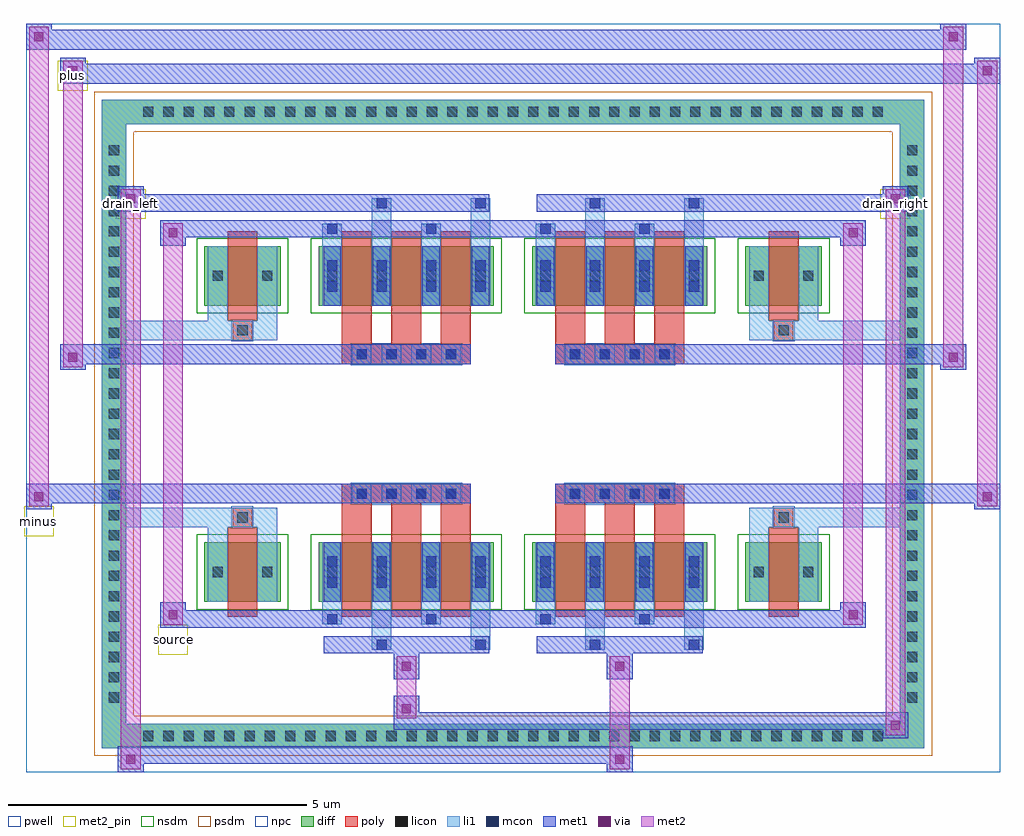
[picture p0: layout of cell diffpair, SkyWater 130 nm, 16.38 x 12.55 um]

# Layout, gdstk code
import gdstk
lib = gdstk.Library(unit=1e-6, precision=5e-09)
def R(c, l, rs):  # rectangles x0, y0, x1, y1
    for r in rs: c.add(gdstk.rectangle(r[:2], r[2:], *l))
def A(c, l, x, y, w, h, nx, ny, dx, dy):  # array of equal rectangles
    R(c, l, [(x+i*dx, y+j*dy, x+i*dx+w, y+j*dy+h) for i in range(nx) for j in range(ny)])
def P(c, l, *ps):  # polygons
    for p in ps: c.add(gdstk.Polygon(p, *l))
pwell = (64, 44)
diff = (65, 20)
poly = (66, 20)
licon = (66, 44)
li1 = (67, 20)
mcon = (67, 44)
met1 = (68, 20)
via = (68, 44)
met2_pin = (69, 16)
met2 = (69, 20)
nsdm = (93, 44)
psdm = (94, 20)
npc = (95, 20)

diffpair = lib.new_cell('diffpair')
R(diffpair, pwell, [(-8.17,-5.84,8.17,6.71), (-5.49,-4.03,-0.01,-0.805), (0.01,-4.03,5.49,-0.805), (-5.49,0.805,-0.01,4.03), (0.01,0.805,5.49,4.03)])
A(diffpair, diff, -6.325, -5.44, 0.41, 0.41, 37, 2, 0.34, 10.47)
A(diffpair, diff, -6.9, -4.795, 0.41, 0.41, 1, 28, 0, 0.34)
A(diffpair, diff, 6.49, -4.795, 0.41, 0.41, 1, 28, 0, 0.34)
R(diffpair, diff, [(-6.325,-5.44,6.325,-5.03), (-6.9,-4.795,-6.49,4.795), (6.49,-4.795,6.9,4.795), (-5.18,-2.985,-3.9,-1.985), (-3.26,-2.985,-0.32,-1.985), (0.32,-2.985,3.26,-1.985), (3.9,-2.985,5.18,-1.985), (-5.18,1.985,-3.9,2.985), (-3.26,1.985,-0.32,2.985), (0.32,1.985,3.26,2.985), (3.9,1.985,5.18,2.985), (-6.325,5.03,6.325,5.44)])
P(diffpair, diff, [(6.9,5.44),(-6.9,5.44),(-6.9,-5.03),(-6.49,-5.03),(-6.49,5.03),(6.49,5.03),(6.49,-5.03),(-6.49,-5.03),(-6.9,-5.03),(-6.9,-5.44),(6.9,-5.44)])
A(diffpair, poly, -2.87, -3.235, 0.5, 1.5, 3, 2, 0.83, 4.97)
A(diffpair, poly, 0.71, -3.235, 0.5, 1.5, 3, 2, 0.83, 4.97)
A(diffpair, poly, -2.87, -1.735, 0.5, 0.4, 3, 2, 0.83, 3.07)
A(diffpair, poly, 0.71, -1.735, 0.5, 0.4, 3, 2, 0.83, 3.07)
A(diffpair, poly, -2.705, -1.335, 0.33, 0.33, 4, 2, 0.5, 2.34)
A(diffpair, poly, 0.875, -1.335, 0.33, 0.33, 4, 2, 0.5, 2.34)
R(diffpair, poly, [(-4.79,-3.235,-4.29,-1.735), (4.29,-3.235,4.79,-1.735), (-4.705,-1.735,-4.375,-1.405), (-4.705,-1.735,-4.375,-1.405), (4.375,-1.735,4.705,-1.405), (4.375,-1.735,4.705,-1.405), (-2.87,-1.335,-0.71,-1.005), (0.71,-1.335,2.87,-1.005), (-2.87,1.005,-0.71,1.335), (0.71,1.005,2.87,1.335), (-4.705,1.405,-4.375,1.735), (-4.705,1.405,-4.375,1.735), (4.375,1.405,4.705,1.735), (4.375,1.405,4.705,1.735), (-4.79,1.735,-4.29,3.235), (4.29,1.735,4.79,3.235)])
A(diffpair, licon, -6.205, -5.32, 0.17, 0.17, 37, 2, 0.34, 10.47)
A(diffpair, licon, -6.78, -4.675, 0.17, 0.17, 1, 28, 0, 0.34)
A(diffpair, licon, 6.61, -4.675, 0.17, 0.17, 1, 28, 0, 0.34)
A(diffpair, licon, -3.12, -2.57, 0.17, 0.17, 4, 2, 0.83, 4.97)
A(diffpair, licon, 0.46, -2.57, 0.17, 0.17, 4, 2, 0.83, 4.97)
A(diffpair, licon, -2.625, -1.255, 0.17, 0.17, 4, 2, 0.5, 2.34)
A(diffpair, licon, 0.955, -1.255, 0.17, 0.17, 4, 2, 0.5, 2.34)
R(diffpair, licon, [(-5.04,-2.57,-4.87,-2.4), (-4.21,-2.57,-4.04,-2.4), (4.04,-2.57,4.21,-2.4), (4.87,-2.57,5.04,-2.4), (-4.625,-1.655,-4.455,-1.485), (4.455,-1.655,4.625,-1.485), (-4.625,1.485,-4.455,1.655), (4.455,1.485,4.625,1.655), (-5.04,2.4,-4.87,2.57), (-4.21,2.4,-4.04,2.57), (4.04,2.4,4.21,2.57), (4.87,2.4,5.04,2.57)])
A(diffpair, li1, -6.285, -5.4, 0.33, 0.33, 37, 2, 0.34, 10.47)
A(diffpair, li1, -6.86, -4.755, 0.33, 0.33, 1, 28, 0, 0.34)
A(diffpair, li1, 6.53, -4.755, 0.33, 0.33, 1, 28, 0, 0.34)
A(diffpair, li1, -3.2, -2.985, 0.33, 1, 4, 2, 0.83, 4.97)
A(diffpair, li1, 0.38, -2.985, 0.33, 1, 4, 2, 0.83, 4.97)
A(diffpair, li1, -3.12, -2.75, 0.17, 0.17, 4, 2, 0.83, 0.36)
A(diffpair, li1, -3.12, -2.75, 0.17, 0.53, 4, 2, 0.83, 4.97)
A(diffpair, li1, 0.46, -2.75, 0.17, 0.17, 4, 2, 0.83, 0.36)
A(diffpair, li1, 0.46, -2.75, 0.17, 0.53, 4, 2, 0.83, 4.97)
A(diffpair, li1, -3.2, -2.65, 0.33, 0.33, 4, 2, 0.83, 4.97)
A(diffpair, li1, 0.38, -2.65, 0.33, 0.33, 4, 2, 0.83, 4.97)
A(diffpair, li1, -2.705, -1.335, 0.33, 0.33, 4, 2, 0.5, 2.34)
A(diffpair, li1, 0.875, -1.335, 0.33, 0.33, 4, 2, 0.5, 2.34)
A(diffpair, li1, -3.12, 2.22, 0.17, 0.17, 4, 2, 0.83, 0.36)
A(diffpair, li1, 0.46, 2.22, 0.17, 0.17, 4, 2, 0.83, 0.36)
R(diffpair, li1, [(-6.9,-5.44,-6.49,-5.03), (-6.9,-5.44,-6.49,-5.03), (-6.49,-5.44,6.49,-5.03), (6.49,-5.44,6.9,-5.03), (6.49,-5.44,6.9,-5.03), (-6.9,-5.03,-6.49,5.03), (6.49,-5.03,6.9,5.03), (-2.37,-3.79,-2.04,-2.985), (-2.29,-3.79,-2.12,-3.62), (-0.71,-3.79,-0.38,-2.985), (-0.63,-3.79,-0.46,-3.62), (1.21,-3.79,1.54,-2.985), (1.29,-3.79,1.46,-3.62), (2.87,-3.79,3.2,-2.985), (2.95,-3.79,3.12,-3.62), (-3.2,-3.36,-2.87,-2.985), (-3.12,-3.36,-2.95,-3.19), (-1.54,-3.36,-1.21,-2.985), (-1.46,-3.36,-1.29,-3.19), (0.38,-3.36,0.71,-2.985), (0.46,-3.36,0.63,-3.19), (2.04,-3.36,2.37,-2.985), (2.12,-3.36,2.29,-3.19), (-5.12,-2.985,-4.79,-1.985), (-4.29,-2.985,-3.96,-1.985), (3.96,-2.985,4.29,-1.985), (4.79,-2.985,5.12,-1.985), (-5.12,-2.65,-4.79,-2.32), (-4.29,-2.65,-3.96,-2.32), (3.96,-2.65,4.29,-2.32), (4.79,-2.65,5.12,-2.32), (-5.12,-1.985,-4.79,-1.405), (-4.29,-1.985,-3.96,-1.405), (3.96,-1.985,4.29,-1.405), (4.79,-1.985,5.12,-1.405), (-6.9,-1.735,-4.705,-1.405), (-5.12,-1.735,-4.705,-1.405), (-4.705,-1.735,-4.375,-1.405), (-4.375,-1.735,-3.96,-1.405), (3.96,-1.735,4.375,-1.405), (4.375,-1.735,4.705,-1.405), (4.375,-1.735,6.9,-1.405), (4.705,-1.735,5.12,-1.405), (-6.9,1.405,-4.705,1.735), (-5.12,1.405,-4.705,1.735), (-5.12,1.405,-4.79,1.985), (-4.705,1.405,-4.375,1.735), (-4.375,1.405,-3.96,1.735), (-4.29,1.405,-3.96,1.985), (3.96,1.405,4.375,1.735), (3.96,1.405,4.29,1.985), (4.375,1.405,4.705,1.735), (4.375,1.405,6.9,1.735), (4.705,1.405,5.12,1.735), (4.79,1.405,5.12,1.985), (-5.12,1.985,-4.79,2.985), (-4.29,1.985,-3.96,2.985), (3.96,1.985,4.29,2.985), (4.79,1.985,5.12,2.985), (-5.12,2.32,-4.79,2.65), (-4.29,2.32,-3.96,2.65), (3.96,2.32,4.29,2.65), (4.79,2.32,5.12,2.65), (-3.2,2.985,-2.87,3.36), (-2.37,2.985,-2.04,3.79), (-1.54,2.985,-1.21,3.36), (-0.71,2.985,-0.38,3.79), (0.38,2.985,0.71,3.36), (1.21,2.985,1.54,3.79), (2.04,2.985,2.37,3.36), (2.87,2.985,3.2,3.79), (-3.12,3.19,-2.95,3.36), (-1.46,3.19,-1.29,3.36), (0.46,3.19,0.63,3.36), (2.12,3.19,2.29,3.36), (-2.29,3.62,-2.12,3.79), (-0.63,3.62,-0.46,3.79), (1.29,3.62,1.46,3.79), (2.95,3.62,3.12,3.79), (-6.9,5.03,-6.49,5.44), (-6.9,5.03,-6.49,5.44), (-6.49,5.03,6.49,5.44), (6.49,5.03,6.9,5.44), (6.49,5.03,6.9,5.44)])
A(diffpair, mcon, -3.12, -2.75, 0.17, 0.17, 4, 2, 0.83, 0.36)
A(diffpair, mcon, 0.46, -2.75, 0.17, 0.17, 4, 2, 0.83, 0.36)
A(diffpair, mcon, -2.625, -1.255, 0.17, 0.17, 4, 2, 0.5, 2.34)
A(diffpair, mcon, 0.955, -1.255, 0.17, 0.17, 4, 2, 0.5, 2.34)
A(diffpair, mcon, -3.12, 2.22, 0.17, 0.17, 4, 2, 0.83, 0.36)
A(diffpair, mcon, 0.46, 2.22, 0.17, 0.17, 4, 2, 0.83, 0.36)
R(diffpair, mcon, [(-2.29,-3.79,-2.12,-3.62), (-0.63,-3.79,-0.46,-3.62), (1.29,-3.79,1.46,-3.62), (2.95,-3.79,3.12,-3.62), (-3.12,-3.36,-2.95,-3.19), (-1.46,-3.36,-1.29,-3.19), (0.46,-3.36,0.63,-3.19), (2.12,-3.36,2.29,-3.19), (-3.12,3.19,-2.95,3.36), (-1.46,3.19,-1.29,3.36), (0.46,3.19,0.63,3.36), (2.12,3.19,2.29,3.36), (-2.29,3.62,-2.12,3.79), (-0.63,3.62,-0.46,3.79), (1.29,3.62,1.46,3.79), (2.95,3.62,3.12,3.79)])
A(diffpair, met1, -3.18, -2.985, 0.29, 1, 4, 2, 0.83, 4.97)
A(diffpair, met1, 0.4, -2.985, 0.29, 1, 4, 2, 0.83, 4.97)
A(diffpair, met1, -3.18, -2.81, 0.29, 0.29, 4, 2, 0.83, 0.36)
A(diffpair, met1, 0.4, -2.81, 0.29, 0.29, 4, 2, 0.83, 0.36)
A(diffpair, met1, -2.685, -1.315, 0.29, 0.29, 4, 2, 0.5, 2.34)
A(diffpair, met1, 0.895, -1.315, 0.29, 0.29, 4, 2, 0.5, 2.34)
A(diffpair, met1, -3.18, 2.16, 0.29, 0.29, 4, 2, 0.83, 0.36)
A(diffpair, met1, 0.4, 2.16, 0.29, 0.29, 4, 2, 0.83, 0.36)
R(diffpair, met1, [(-6.63,-5.84,-6.2,-5.41), (1.575,-5.84,2.005,-5.41), (-6.63,-5.7,2.005,-5.41), (6.2,-5.27,6.63,-4.84), (-2.005,-5.13,6.63,-4.84), (-2.005,-4.99,-1.575,-4.56), (-2.005,-4.28,-1.575,-3.85), (1.575,-4.28,2.005,-3.85), (-3.18,-3.85,-0.4,-3.56), (-2.35,-3.85,-2.06,-3.56), (-0.69,-3.85,-0.4,-3.56), (0.4,-3.85,3.18,-3.56), (1.23,-3.85,1.52,-3.56), (2.89,-3.85,3.18,-3.56), (-5.92,-3.42,-5.49,-2.99), (-5.92,-3.42,-3.18,-3.13), (-3.18,-3.42,-2.89,-3.13), (-3.18,-3.42,-0.4,-3.13), (-1.52,-3.42,-1.23,-3.13), (-0.4,-3.42,0.4,-3.13), (0.4,-3.42,0.69,-3.13), (0.4,-3.42,3.18,-3.13), (2.06,-3.42,2.35,-3.13), (3.18,-3.42,5.92,-3.13), (5.49,-3.42,5.92,-2.99), (-8.17,-1.435,-7.74,-1.005), (7.74,-1.435,8.17,-1.005), (-8.17,-1.335,-0.71,-1.005), (-2.87,-1.335,-0.71,-1.005), (0.71,-1.335,2.87,-1.005), (0.71,-1.335,8.17,-1.005), (-7.6,0.905,-7.17,1.335), (7.17,0.905,7.6,1.335), (-7.6,1.005,-2.87,1.335), (-2.87,1.005,-0.71,1.335), (0.71,1.005,2.87,1.335), (2.87,1.005,7.6,1.335), (-5.92,2.99,-5.49,3.42), (5.49,2.99,5.92,3.42), (-5.92,3.13,-3.18,3.42), (-3.18,3.13,-2.89,3.42), (-3.18,3.13,-0.4,3.42), (-1.52,3.13,-1.23,3.42), (-0.4,3.13,0.4,3.42), (0.4,3.13,0.69,3.42), (0.4,3.13,3.18,3.42), (2.06,3.13,2.35,3.42), (3.18,3.13,5.92,3.42), (-6.63,3.56,-6.2,3.99), (-6.63,3.56,-3.18,3.85), (-3.18,3.56,-0.4,3.85), (-2.35,3.56,-2.06,3.85), (-0.69,3.56,-0.4,3.85), (0.4,3.56,3.18,3.85), (1.23,3.56,1.52,3.85), (2.89,3.56,3.18,3.85), (3.18,3.56,6.63,3.85), (6.2,3.56,6.63,3.99), (-7.6,5.71,-7.17,6.14), (-7.6,5.71,-5.49,6.04), (-5.49,5.71,5.49,6.04), (5.49,5.71,8.17,6.04), (7.74,5.71,8.17,6.14), (-8.17,6.28,-7.74,6.71), (-8.17,6.28,-5.49,6.61), (-5.49,6.28,5.49,6.61), (5.49,6.28,7.6,6.61), (7.17,6.28,7.6,6.71)])
R(diffpair, via, [(-6.49,-5.7,-6.34,-5.55), (1.715,-5.7,1.865,-5.55), (6.34,-5.13,6.49,-4.98), (-1.865,-4.85,-1.715,-4.7), (-1.865,-4.14,-1.715,-3.99), (1.715,-4.14,1.865,-3.99), (-5.78,-3.28,-5.63,-3.13), (5.63,-3.28,5.78,-3.13), (-8.03,-1.295,-7.88,-1.145), (7.88,-1.295,8.03,-1.145), (-7.46,1.045,-7.31,1.195), (7.31,1.045,7.46,1.195), (-5.78,3.13,-5.63,3.28), (5.63,3.13,5.78,3.28), (-6.49,3.7,-6.34,3.85), (6.34,3.7,6.49,3.85), (-7.46,5.85,-7.31,6), (7.88,5.85,8.03,6), (-8.03,6.42,-7.88,6.57), (7.31,6.42,7.46,6.57)])
R(diffpair, met2_pin, [(-5.955,-3.87,-5.455,-3.37), (-8.205,-1.885,-7.705,-1.385), (-6.665,3.44,-6.165,3.94), (6.165,3.44,6.665,3.94), (-7.635,5.59,-7.135,6.09)])
R(diffpair, met2, [(-6.58,-5.79,-6.25,-5.46), (-6.58,-5.79,-6.25,3.94), (1.625,-5.79,1.955,-5.46), (1.625,-5.46,1.955,-4.23), (6.25,-5.22,6.58,-4.89), (6.25,-5.22,6.58,3.94), (-1.955,-4.94,-1.625,-4.61), (-1.955,-4.61,-1.625,-4.23), (-1.955,-4.23,-1.625,-3.9), (1.625,-4.23,1.955,-3.9), (-5.87,-3.37,-5.54,-3.04), (-5.87,-3.37,-5.54,3.37), (5.54,-3.37,5.87,-3.04), (5.54,-3.37,5.87,3.37), (-8.12,-1.385,-7.79,-1.055), (-8.12,-1.385,-7.79,6.66), (7.79,-1.385,8.12,-1.055), (7.79,-1.385,8.12,6.09), (-7.55,0.955,-7.22,1.285), (-7.55,0.955,-7.22,6.09), (7.22,0.955,7.55,1.285), (7.22,0.955,7.55,6.66), (-5.87,3.04,-5.54,3.37), (5.54,3.04,5.87,3.37), (-6.58,3.61,-6.25,3.94), (6.25,3.61,6.58,3.94), (-7.55,5.76,-7.22,6.09), (7.79,5.76,8.12,6.09), (-8.12,6.33,-7.79,6.66), (7.22,6.33,7.55,6.66)])
P(diffpair, met2, [(8.12,-1.385),(8.12,-1.385),(8.12,-1.055),(8.12,-1.055)],
  [(8.12,5.76),(8.12,5.76),(8.12,6.09),(8.12,6.09)],
  [(-7.79,-1.385),(-7.79,-1.385),(-7.79,-1.055),(-7.79,-1.055)],
  [(-7.79,6.33),(-7.79,6.33),(-7.79,6.66),(-7.79,6.66)],
  [(7.55,0.955),(7.55,0.955),(7.55,1.285),(7.55,1.285)],
  [(7.55,6.33),(7.55,6.33),(7.55,6.66),(7.55,6.66)],
  [(-7.22,0.955),(-7.22,0.955),(-7.22,1.285),(-7.22,1.285)],
  [(-7.22,5.76),(-7.22,5.76),(-7.22,6.09),(-7.22,6.09)],
  [(-6.25,-5.79),(-6.25,-5.79),(-6.25,-5.46),(-6.25,-5.46)],
  [(-6.25,3.61),(-6.25,3.61),(-6.25,3.94),(-6.25,3.94)],
  [(6.58,-5.22),(6.58,-5.22),(6.58,-4.89),(6.58,-4.89)],
  [(6.58,3.61),(6.58,3.61),(6.58,3.94),(6.58,3.94)],
  [(-5.54,-3.37),(-5.54,-3.37),(-5.54,-3.04),(-5.54,-3.04)],
  [(-5.54,3.04),(-5.54,3.04),(-5.54,3.37),(-5.54,3.37)],
  [(5.87,-3.37),(5.87,-3.37),(5.87,-3.04),(5.87,-3.04)],
  [(5.87,3.04),(5.87,3.04),(5.87,3.37),(5.87,3.37)])
R(diffpair, nsdm, [(-5.31,-3.115,-3.77,-1.855), (-3.39,-3.115,-0.19,-1.855), (0.19,-3.115,3.39,-1.855), (3.77,-3.115,5.31,-1.855), (-5.31,1.855,-3.77,3.115), (-3.39,1.855,-0.19,3.115), (0.19,1.855,3.39,3.115), (3.77,1.855,5.31,3.115)])
P(diffpair, psdm, [(7.03,5.57),(-7.03,5.57),(-7.03,-4.9),(-6.36,-4.9),(-6.36,4.9),(6.36,4.9),(6.36,-4.9),(-6.36,-4.9),(-7.03,-4.9),(-7.03,-5.57),(7.03,-5.57)])
A(diffpair, npc, -2.725, -1.355, 0.37, 0.37, 4, 2, 0.5, 2.34)
A(diffpair, npc, 0.855, -1.355, 0.37, 0.37, 4, 2, 0.5, 2.34)
R(diffpair, npc, [(-4.725,-1.755,-4.355,-1.385), (4.355,-1.755,4.725,-1.385), (-2.725,-1.355,-1.855,-0.985), (-2.725,-1.355,-1.855,-0.985), (-2.225,-1.355,-1.355,-0.985), (-2.225,-1.355,-1.355,-0.985), (-1.725,-1.355,-0.855,-0.985), (-1.725,-1.355,-0.855,-0.985), (0.855,-1.355,1.725,-0.985), (0.855,-1.355,1.725,-0.985), (1.355,-1.355,2.225,-0.985), (1.355,-1.355,2.225,-0.985), (1.855,-1.355,2.725,-0.985), (1.855,-1.355,2.725,-0.985), (-2.725,0.985,-1.855,1.355), (-2.725,0.985,-1.855,1.355), (-2.225,0.985,-1.355,1.355), (-2.225,0.985,-1.355,1.355), (-1.725,0.985,-0.855,1.355), (-1.725,0.985,-0.855,1.355), (0.855,0.985,1.725,1.355), (0.855,0.985,1.725,1.355), (1.355,0.985,2.225,1.355), (1.355,0.985,2.225,1.355), (1.855,0.985,2.725,1.355), (1.855,0.985,2.725,1.355), (-4.725,1.385,-4.355,1.755), (4.355,1.385,4.725,1.755)])
diffpair.add(gdstk.Label('minus', (-7.955,-1.635), layer=69, texttype=5))
diffpair.add(gdstk.Label('drain_right', (6.415,3.69), layer=69, texttype=5))
diffpair.add(gdstk.Label('drain_left', (-6.415,3.69), layer=69, texttype=5))
diffpair.add(gdstk.Label('source', (-5.705,-3.62), layer=69, texttype=5))
diffpair.add(gdstk.Label('plus', (-7.385,5.84), layer=69, texttype=5))

lib.write_gds('diffpair.gds')
